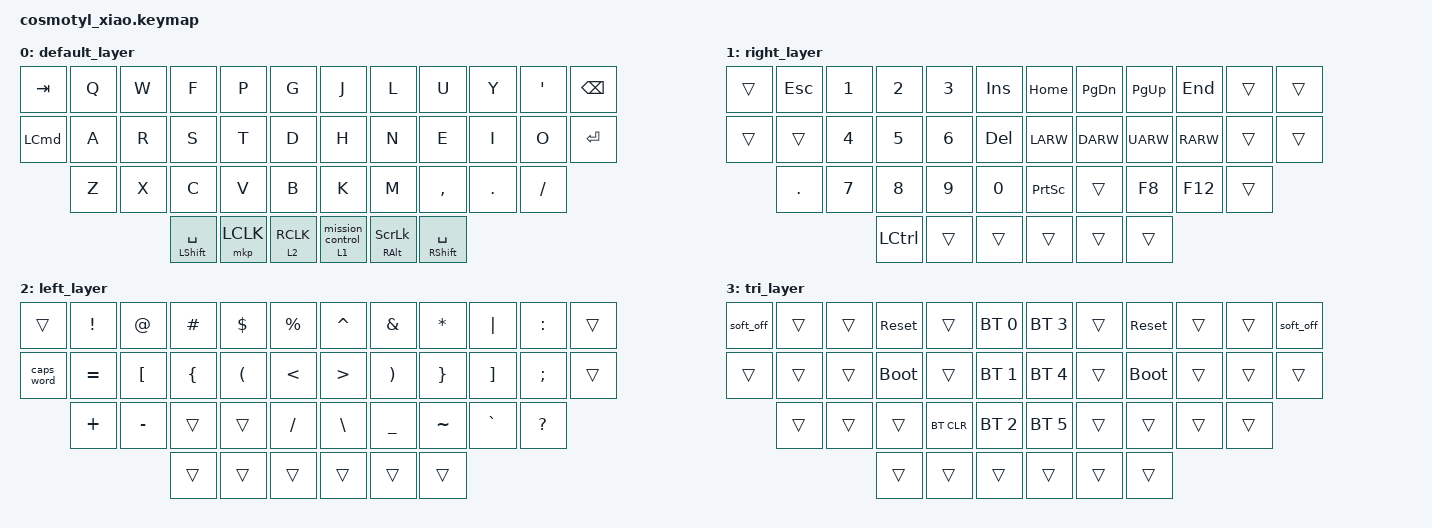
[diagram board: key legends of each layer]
// Copyright (c) 2022 The ZMK Contributors
// SPDX-License-Identifier: MIT

#include <behaviors.dtsi>
#include <dt-bindings/zmk/keys.h>
#include <dt-bindings/zmk/bt.h>
#include <dt-bindings/zmk/pointing.h>
#include <dt-bindings/zmk/behaviors.h>

// Home row mods macro
//#define HRML(k1,k2,k3,k4) &ht LSHFT k1 &ht LCTRL k2  &ht LGUI k3 &ht LALT k4
//#define HRMR(k1,k2,k3,k4) &ht RALT k1  &ht RGUI k2  &ht RCTRL k3  &ht RSHFT k4

&lt {
    tapping-term-ms = <250>;
};

&mt {
    tapping-term-ms = <150>;
    flavor = "hold-preferred";
};

&soft_off {
    hold-time-ms = <3000>; // Only turn off if the key is held for 3 seconds or longer.
};

/ {
    macros {
        mission_control: mission_control {
            compatible = "zmk,behavior-macro";
            #binding-cells = <0>;
            bindings
                = <&macro_press &kp LCTRL>
                , <&macro_tap &kp UP>
                , <&macro_release &kp LCTRL>
                ;
        };
    };

    behaviors {
        ms_mt: mouse_mod_tap {
            compatible = "zmk,behavior-hold-tap";
            #binding-cells = <2>;
            flavor = "hold-preferred";
            tapping-term-ms = <150>;
            bindings = <&kp>, <&mkp>;
            display-name = "Mouse-Mod-Tap";
        };
    
        ms_lt: mouse_layer_tap {
            compatible = "zmk,behavior-hold-tap";
            #binding-cells = <2>;
            flavor = "hold-preferred";
            tapping-term-ms = <150>;
            bindings = <&mo>, <&mkp>;
            display-name = "Mouse-Layer-Tap";
        };

        mc_lt: mission_control_layer_tap {
            compatible = "zmk,behavior-hold-tap";
            #binding-cells = <2>;
            flavor = "hold-preferred";
            tapping-term-ms = <150>;
            bindings = <&mo>, <&mission_control>;
            display-name = "Mission-Control-Layer-Tap";
        };
    };

    conditional_layers {
        compatible = "zmk,conditional-layers";
        tri_layer {
            if-layers = <1 2>;
            then-layer = <3>;
        };
    };

    keymap {
        compatible = "zmk,keymap";
        default_layer {
            bindings = <
        //╭──────────┬──────────┬──────────┬──────────┬──────────┬──────────╮   ╭──────────┬──────────┬──────────┬──────────┬──────────┬──────────╮
        //|    TAB   │  Q       │  W       │  F       │  P       │  G       │   │  J       │  L       │  U       │  Y       │  '   "   │BACKSPACE │
             &kp TAB   &kp Q      &kp W      &kp F      &kp P      &kp G          &kp J      &kp L      &kp U      &kp Y      &kp SQT    &kp BSPC
        //├──────────┼──────────┼──────────┼──────────┼──────────┼──────────┤   ├──────────┼──────────┼──────────┼──────────┼──────────┼──────────┤
        //|   CMD    │  A       │  R       │  S       │  T       │  D       │   │  H       │  N       │  E       │  I       │    O     │  ENTER   │
           &kp LCMD    &kp A       &kp R     &kp S      &kp T      &kp D          &kp H      &kp N     &kp E       &kp I      &kp O      &kp ENTER
        //╰──────────┼──────────┼──────────┼──────────┼──────────┼──────────┤   ├──────────┼──────────┼──────────┼──────────┼──────────┼──────────╯
        //           │  Z       |  X       │  C       │  V       │  B       │   |  K       │  M       │ , <      │ . >      │  / ?     │
                        &kp Z      &kp X     &kp C      &kp V      &kp B           &kp K     &kp M     &kp COMMA  &kp DOT     &kp FSLH
        //           ╰──────────┴──────────┼──────────┼──────────┼──────────┤   ├──────────┼──────────┼──────────┼──────────┴──────────╯
                                        &mt LSHFT SPACE &mkp LCLK &ms_lt 2 RCLK  &mc_lt 1 0 &mt RALT SLCK &mt RSHFT SPACE
        //                                 ╰──────────┴──────────┴──────────╯   ╰──────────┴──────────┴──────────╯
            >;
        };

        right_layer {
            bindings = <
        //╭──────────┬──────────┬──────────┬──────────┬──────────┬──────────╮   ╭──────────┬──────────┬──────────┬──────────┬──────────┬──────────╮
        //|          │ ESC      │  1       │  2       │  3       │  INSERT  │   │ HOME     │ PAGE DN  │ PAGE UP  │ END      │          |          |
             &trans     &kp ESC    &kp N1     &kp N2     &kp N3     &kp INS       &kp HOME   &kp PG_DN  &kp PG_UP  &kp END    &trans     &trans
        //├──────────┼──────────┼──────────┼──────────┼──────────┼──────────┤   ├──────────┼──────────┼──────────┼──────────┼──────────┼──────────┤
        //|          │          │  4       │  5       │  6       │  DELETE  │   │ LEFT     │ DOWN     │ UP       │ RIGHT    │          |          |
             &trans     &trans   &kp N4     &kp N5     &kp N6     &kp DEL        &kp LARW   &kp DARW   &kp UARW   &kp RARW    &trans    &trans
        //╰──────────┼──────────┼──────────┼──────────┼──────────┼──────────┤   ├──────────┼──────────┼──────────┼──────────┼──────────┼──────────╯
        //           │    .     │  7       │  8       │  9       │  0       │   │PRINT SCR │          │    F8    │    F12   │          │
                       &kp DOT     &kp N7     &kp N8     &kp N9     &kp N0        &kp PSCRN   &trans    &kp F8     &kp F12    &trans
        //           ╰──────────┴──────────┼──────────┼──────────┼──────────┤   ├──────────┼──────────┼──────────┼──────────┴──────────╯
                                             &kp LCTRL   &trans     &trans        &trans     &trans     &trans
        //                                 ╰──────────┴──────────┴──────────╯   ╰──────────┴──────────┴──────────╯
            >;
        };

        left_layer {
            bindings = <
        //╭──────────┬──────────┬──────────┬──────────┬──────────┬──────────╮   ╭──────────┬──────────┬──────────┬──────────┬──────────┬──────────╮
        //|          │  !       │  @       │  #       │  $       │  %       │   │  ^       │  &       │  *       │  │       │   :      │          |
             &trans    &kp EXCL   &kp AT     &kp HASH   &kp DLLR   &kp PRCNT     &kp CARET  &kp AMPS   &kp ASTRK   &kp PIPE   &kp COLON   &trans
        //├──────────┼──────────┼──────────┼──────────┼──────────┼──────────┤   ├──────────┼──────────┼──────────┼──────────┼──────────┼──────────┤
        //|          │  =       │    [     │   {      │    (     │    <     │   │    >     │    )     │    }     │  ]       │   ;      │          |
           &caps_word &kp EQUAL  &kp LBKT   &kp LBRC   &kp LPAR   &kp LT         &kp GT     &kp RPAR   &kp RBRC   &kp RBKT   &kp SEMI   &trans
        //╰──────────┼──────────┼──────────┼──────────┼──────────┼──────────┤   ├──────────┼──────────┼──────────┼──────────┼──────────┼──────────╯
        //           │  +       |   -      │          │          │    /     │   |    \     │  _       │   ~      │  `       │    ?     │
                       &kp PLUS  &kp MINUS   &trans     &trans     &kp FSLH       &kp BSLH   &kp UNDER  &kp TILDE  &kp GRAVE  &kp QMARK
        //           ╰──────────┴──────────┼──────────┼──────────┼──────────┤   ├──────────┼──────────┼──────────┼──────────┴──────────╯
                                              &trans     &trans     &trans         &trans     &trans     &trans
        //                                 ╰──────────┴──────────┴──────────╯   ╰──────────┴──────────┴──────────╯
            >;
        };

        tri_layer {
            bindings = <
        //╭──────────┬──────────┬──────────┬──────────┬──────────┬──────────╮   ╭──────────┬──────────┬──────────┬──────────┬──────────┬──────────╮
        //|          │          │          │  RESET   │          │PROFILE 0 │   │PROFILE 3 │          │  RESET   │          │          │
            &soft_off  &trans     &trans    &sys_reset  &trans    &bt BT_SEL 0  &bt BT_SEL 3  &trans   &sys_reset  &trans     &trans     &soft_off
        //├──────────┼──────────┼──────────┼──────────┼──────────┼──────────┤   ├──────────┼──────────┼──────────┼──────────┼──────────┼──────────┤
        //|          │          │          │BOOTLOADER│          │PROFILE 1 │   │PROFILE 4 │          │BOOTLOADER│          │          │          |
             &trans    &trans     &trans    &bootloader &trans    &bt BT_SEL 1  &bt BT_SEL 4 &trans    &bootloader  &trans    &trans      &trans
        //╰──────────┼──────────┼──────────┼──────────┼──────────┼──────────┤   ├──────────┼──────────┼──────────┼──────────┼──────────┼──────────╯
        //           │          │          │          │ CLEAR BT │PROFILE 2 │   │PROFILE 5 │          │          │          │          │
                       &trans     &trans     &trans    &bt BT_CLR &bt BT_SEL 2  &bt BT_SEL 5 &trans     &trans     &trans     &trans
        //           ╰──────────┴──────────┼──────────┼──────────┼──────────┤   ├──────────┼──────────┼──────────┼──────────┴──────────╯
                                              &trans     &trans     &trans         &trans     &trans     &trans
        //                                 ╰──────────┴──────────┴──────────╯   ╰──────────┴──────────┴──────────╯
            >;
        };
    };
};
